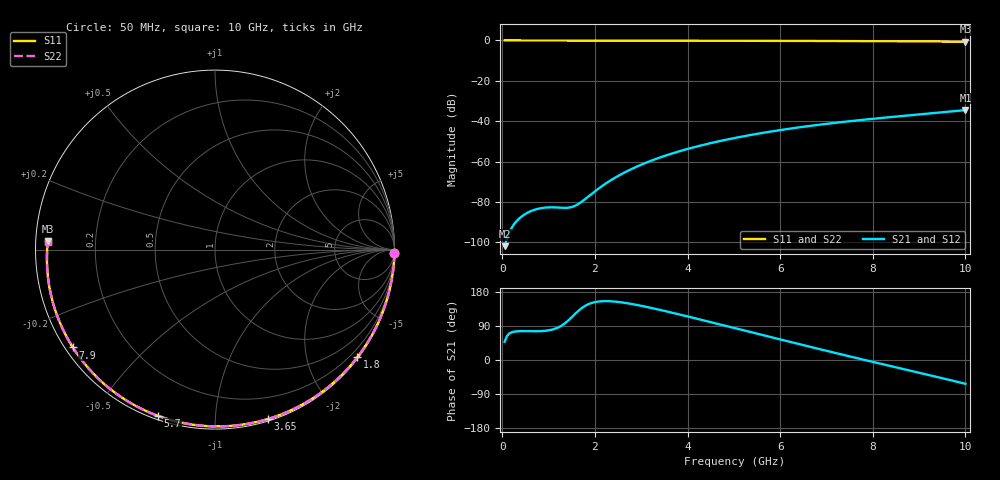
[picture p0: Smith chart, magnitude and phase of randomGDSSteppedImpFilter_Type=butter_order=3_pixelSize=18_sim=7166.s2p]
! freq	dB(S11)	phase(S11)	dB(S12)	phase(S12)
!  dB(S21)	phase(S21)	dB(S22)	phase(S22)
!S-par simulation data
#  GHz  S  DB  R 50
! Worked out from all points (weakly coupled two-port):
!   200 points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, 50 MHz to 10 GHz, reference 50 ohm
!   highest |S21| = -34.49 dB at 10 GHz (marker M1); lowest = -101.9 dB at 50 MHz (marker M2)
!   lowest |S11| = -0.6 dB at 10 GHz (marker M3), VSWR 28.49, Z = 1.76 + j1.29 ohm
!   |S11| at or under -10 dB: nowhere
!   |S22| runs from -0.6 to 0.0 dB; largest |S21 - S12| = 0
!   S11 on the Smith chart (normalised r, x): 50 MHz: open; 1.8 GHz: 0.03, -2.98; 3.65 GHz: 0.02, -1.36; 5.7 GHz: 0.02, -0.71; 7.9 GHz: 0.02, -0.31; 10 GHz: 0.04, +0.03
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0.05  -0.00 -1.1  -101.90 48.0  -101.90 48.0  -0.00 -1.1
0.45  -0.01 -9.5  -86.65 76.3  -86.65 76.3  -0.01 -9.4
0.85  -0.02 -17.7  -83.02 76.3  -83.02 76.3  -0.02 -17.7
1.25  -0.03 -26.0  -82.84 88.6  -82.84 88.6  -0.03 -25.9
1.7  -0.04 -35.1  -80.12 135.5  -80.12 135.5  -0.04 -35.0
1.75  -0.05 -36.1  -79.28 139.9  -79.28 139.9  -0.05 -36.0
1.8  -0.05 -37.1  -78.39 143.6  -78.39 143.6  -0.05 -37.0
2.15  -0.06 -44.1  -72.19 155.1  -72.19 155.1  -0.06 -44.0
2.5  -0.06 -50.9  -67.12 153.3  -67.12 153.3  -0.06 -50.9
2.9  -0.08 -58.7  -62.53 145.4  -62.53 145.4  -0.08 -58.6
3.4  -0.09 -68.1  -58.01 132.4  -58.01 132.4  -0.09 -68.0
3.65  -0.10 -72.8  -56.11 125.3  -56.11 125.3  -0.10 -72.7
4.35  -0.12 -85.5  -51.67 104.4  -51.67 104.4  -0.12 -85.4
5.05  -0.15 -97.8  -48.16 83.2  -48.16 83.2  -0.15 -97.7
5.7  -0.18 -108.9  -45.49 63.4  -45.49 63.4  -0.18 -108.8
6.2  -0.21 -117.3  -43.72 48.2  -43.72 48.2  -0.21 -117.2
6.7  -0.24 -125.6  -42.16 33.2  -42.16 33.2  -0.24 -125.5
7.3  -0.29 -135.5  -40.51 15.4  -40.51 15.4  -0.29 -135.3
7.9  -0.34 -145.5  -39.04 -2.1  -39.04 -2.1  -0.34 -145.2
8.35  -0.39 -153.0  -38.03 -15.0  -38.03 -15.0  -0.39 -152.8
9.2  -0.49 -167.8  -36.21 -39.3  -36.21 -39.3  -0.48 -167.5
10  -0.61 177.0  -34.49 -62.8  -34.49 -62.8  -0.61 177.4
